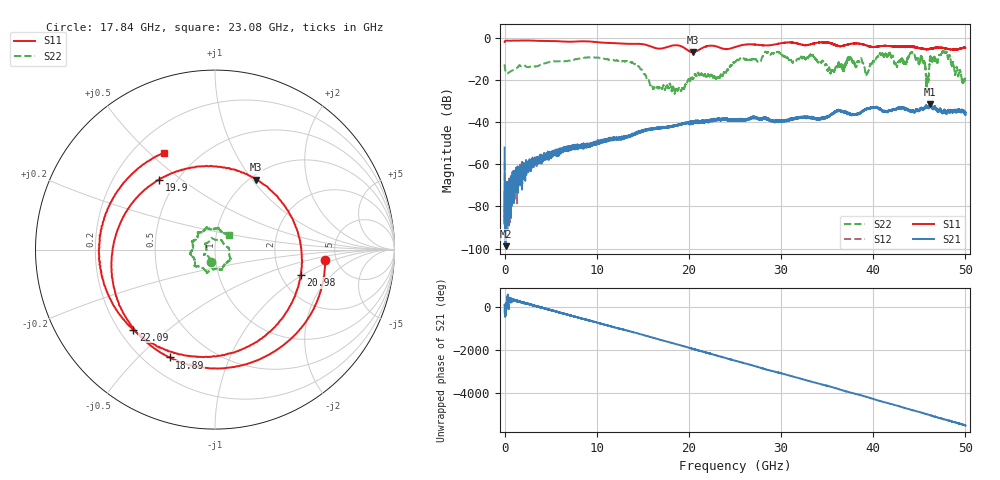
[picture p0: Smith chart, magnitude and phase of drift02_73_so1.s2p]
!Created with skrf (http://scikit-rf.org).
# Hz S RI R 50.0
!freq ReS11 ImS11 ReS21 ImS21 ReS12 ImS12 ReS22 ImS22
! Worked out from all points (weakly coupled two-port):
!   10001 points, 300 kHz to 50 GHz, reference 50 ohm
!   highest |S21| = -31.58 dB at 46.19 GHz (marker M1); lowest = -98.8 dB at 135.3 MHz (marker M2)
!   lowest |S11| = -6.9 dB at 20.4 GHz (marker M3), VSWR 2.65, Z = 53.3 + j52.3 ohm
!   |S11| at or under -10 dB: nowhere
!   |S22| runs from -26.6 to -6.3 dB; largest |S21 - S12| = 0.0031
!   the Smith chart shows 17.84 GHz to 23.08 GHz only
!   S11 on the Smith chart (normalised r, x): 17.84 GHz: 4.07, -0.80; 18.89 GHz: 0.30, -0.62; 19.9 GHz: 0.40, +0.42; 20.98 GHz: 2.56, -0.96; 22.09 GHz: 0.26, -0.39; 23.08 GHz: 0.32, +0.55
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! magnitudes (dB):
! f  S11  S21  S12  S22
! 300 kHz  -2.1  -52.1  -59.3  -12.7
! 135.3 MHz  -1.5  -98.8  -74.1  -16.7
! 3.05 GHz  -1.4  -60.0  -60.9  -13.5
! 8.335 GHz  -1.7  -51.1  -51.3  -9.7
! 13.7 GHz  -2.9  -46.3  -46.0  -11.7
! 16.67 GHz  -5.2  -42.7  -42.6  -23.7
! 17.84 GHz  -4.2  -42.6  -42.4  -23.1
! 18.89 GHz  -3.7  -41.5  -41.6  -24.0
! 19.9 GHz  -6.0  -40.3  -40.3  -20.0
! 20.4 GHz  -6.9  -40.2  -40.2  -19.2
! 20.98 GHz  -6.1  -39.5  -40.1  -16.8
! 22.09 GHz  -3.9  -39.7  -39.4  -17.5
! 23.08 GHz  -4.3  -38.2  -38.8  -18.8
! 25 GHz  -4.5  -38.8  -39.4  -11.6
! 33.34 GHz  -3.0  -38.0  -37.7  -8.3
! 39.32 GHz  -3.8  -33.8  -33.6  -17.0
! 41.67 GHz  -4.0  -34.7  -34.7  -7.8
! 44.28 GHz  -4.5  -34.7  -34.5  -7.4
! 45.85 GHz  -5.4  -33.2  -32.8  -19.5
! 46.19 GHz  -5.3  -31.6  -31.7  -9.2
! 47.75 GHz  -5.0  -34.2  -34.4  -6.9
! 50 GHz  -4.8  -36.6  -35.5  -18.6
